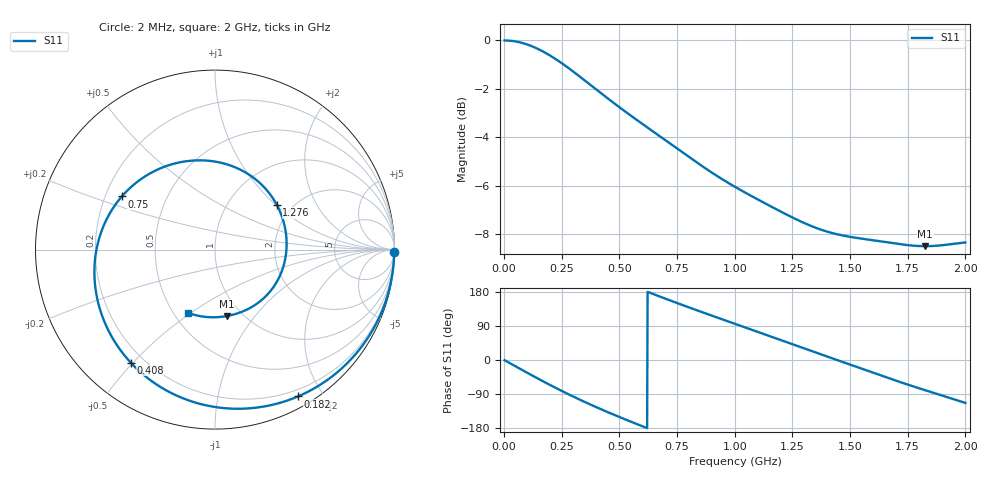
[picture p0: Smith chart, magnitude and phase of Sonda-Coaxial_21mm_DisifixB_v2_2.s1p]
! TOUCHSTONE file generated by CST MICROWAVE STUDIO
! Date and time: Tue Jul 28 21:58:49 2026
! Project name: Sonda-Coaxial_21mm_DisifixB_v2.cst
! Parameters = {h_recipiente=5; l_conector=50; r_arandela=35; r_ext=10.5; r_int=3; r_recipiente=100; z_recipiente=-30}
! Header version: 2018
! Port assignment regex: !\s*Touchstone port\s*([0-9]+)\s*=\s*(CST MWS port|CST DS port)\s*([0-9]+|Zmin|Zmax)\s*\(\"(.*)\"\)(\s*mode\s*([0-9]+))?.*
! Touchstone port assignment:
! Touchstone port 1 = CST MWS port 1 ("")
# GHz S RI R 50
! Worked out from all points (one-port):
!   1000 points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, 2 MHz to 2 GHz, reference 50 ohm
!   lowest |S11| = -8.5 dB at 1.826 GHz (marker M1), VSWR 2.21, Z = 42.6 - j36.7 ohm
!   |S11| at or under -10 dB: nowhere
!   S11 on the Smith chart (normalised r, x): 2 MHz: open; 182 MHz: 0.12, -1.71; 408 MHz: 0.15, -0.49; 750 MHz: 0.27, +0.25; 1.276 GHz: 1.67, +1.01; 2 GHz: 0.59, -0.49
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0.002  0.9983 -0.0118
0.042  0.9644 -0.2449
0.082  0.8724 -0.4586
0.134  0.6827 -0.6823
0.182  0.4624 -0.8181
0.216  0.2953 -0.87
0.252  0.1194 -0.8867
0.322  -0.1898 -0.8237
0.408  -0.4698 -0.6292
0.454  -0.5684 -0.4973
0.502  -0.6348 -0.3517
0.558  -0.6697 -0.1817
0.618  -0.662 -0.00905
0.68  -0.613 0.1499
0.75  -0.5189 0.2965
0.752  -0.5157 0.3001
0.812  -0.4126 0.3927
0.874  -0.2948 0.4567
1.002  -0.0457 0.4959
1.118  0.1577 0.4368
1.252  0.3251 0.2821
1.276  0.3449 0.2484
1.388  0.3961 0.0825
1.502  0.3834 -0.0857
1.636  0.2885 -0.254
1.752  0.1577 -0.3432
1.826  0.0665 -0.3701
2  -0.1513 -0.3515
